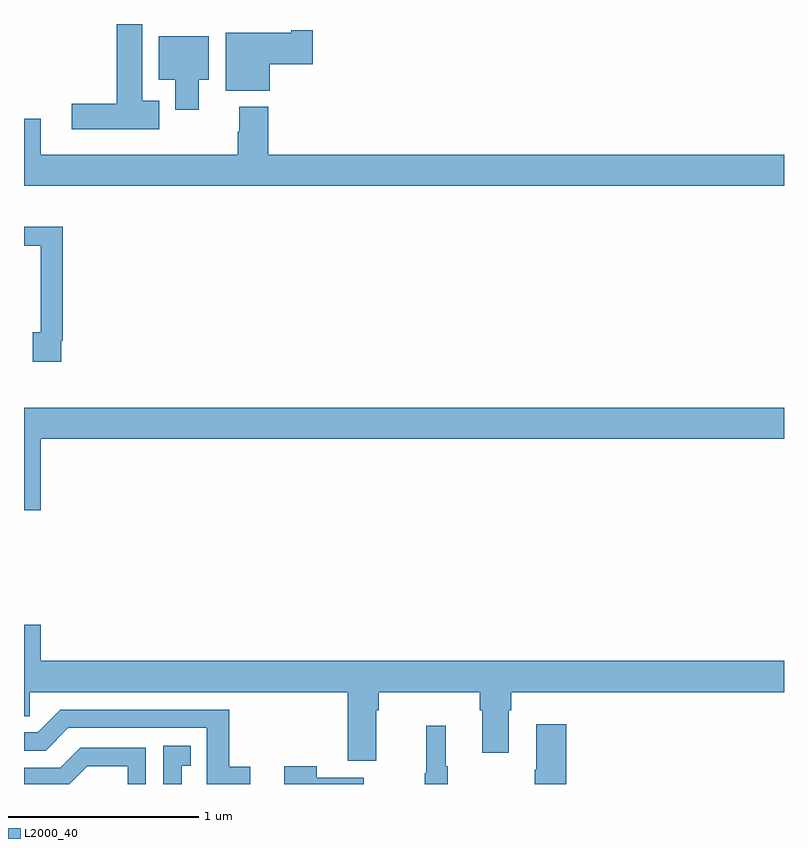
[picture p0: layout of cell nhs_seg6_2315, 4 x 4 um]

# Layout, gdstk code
import gdstk
lib = gdstk.Library(unit=1e-6, precision=1e-09)
def P(c, l, *ps):  # polygons
    for p in ps: c.add(gdstk.Polygon(p, *l))
L2000_40 = (2000, 40)

nhs_seg6_2315 = lib.new_cell('nhs_seg6_2315')
P(nhs_seg6_2315, L2000_40, [(249.712,969.097),(249.622,969.097),(249.622,969.5),(249.488,969.5),(249.488,969.08),(249.252,969.08),(249.252,968.945),(249.712,968.945)],
  [(250.294,969.289),(250.519,969.289),(250.519,969.467),(250.406,969.467),(250.406,969.454),(250.061,969.454),(250.061,969.149),(250.294,969.149)],
  [(249.919,969.206),(249.973,969.206),(249.973,969.436),(249.71,969.436),(249.71,969.206),(249.797,969.206),(249.797,969.048),(249.919,969.048)],
  [(253,968.812),(250.286,968.812),(250.286,969.064),(250.133,969.064),(250.133,968.933),(250.126,968.933),(250.126,968.812),(249.088,968.812),(249.088,969.001),(249,969.001),(249,968.648),(253,968.648)],
  [(249.196,967.834),(249.203,967.834),(249.203,968.432),(249,968.432),(249,968.334),(249.087,968.334),(249.087,967.878),(249.047,967.878),(249.047,967.722),(249.196,967.722)],
  [(249.088,967.316),(253,967.316),(253,967.48),(249,967.48),(249,966.942),(249.088,966.942)],
  [(250.855,965.888),(250.868,965.888),(250.868,965.984),(251.399,965.984),(251.399,965.888),(251.411,965.888),(251.411,965.664),(251.551,965.664),(251.551,965.888),(251.564,965.888),(251.564,965.984),(253,965.984),(253,966.148),(249.088,966.148),(249.088,966.337),(249,966.337),(249,965.857),(249.03,965.857),(249.03,965.984),(250.703,965.984),(250.703,965.622),(250.855,965.622)],
  [(250.19,965.59),(250.079,965.59),(250.079,965.892),(249.192,965.892),(249.072,965.772),(249,965.772),(249,965.676),(249.114,965.676),(249.234,965.796),(249.963,965.796),(249.963,965.5),(250.19,965.5)],
  [(251.855,965.815),(251.696,965.815),(251.696,965.576),(251.689,965.576),(251.689,965.5),(251.855,965.5)],
  [(251.23,965.593),(251.219,965.593),(251.219,965.806),(251.116,965.806),(251.116,965.556),(251.109,965.556),(251.109,965.5),(251.23,965.5)],
  [(249.829,965.595),(249.878,965.595),(249.878,965.701),(249.732,965.701),(249.732,965.5),(249.829,965.5)],
  [(249.332,965.594),(249.546,965.594),(249.546,965.5),(249.642,965.5),(249.642,965.691),(249.296,965.691),(249.191,965.586),(249,965.586),(249,965.5),(249.238,965.5)],
  [(250.789,965.533),(250.541,965.533),(250.541,965.593),(250.37,965.593),(250.37,965.5),(250.789,965.5)])

lib.write_gds('nhs_seg6_2315.gds')
